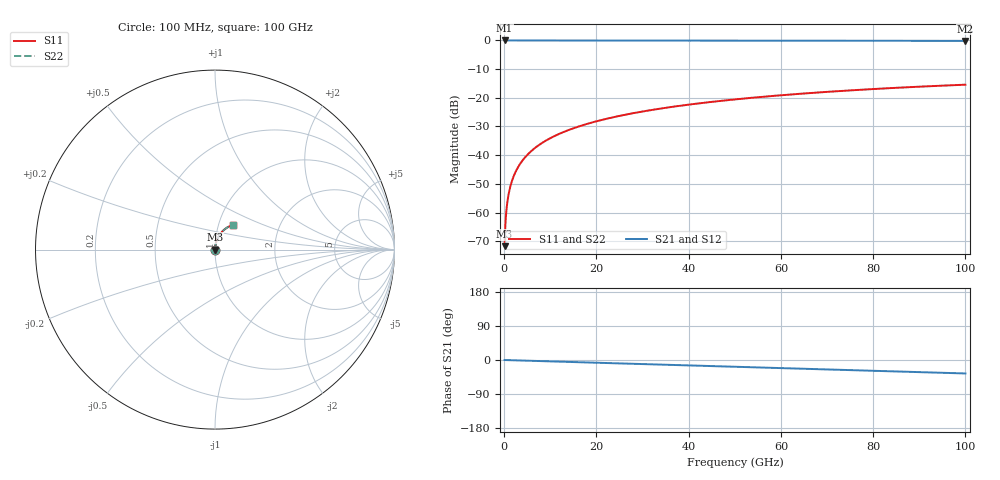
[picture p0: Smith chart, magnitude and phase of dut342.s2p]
! Touchstone file exported from HFSS 2026.1.0
!  File:  C:/ffzhzh/LocalFiles/Ansys_Project_Files/temp_train_TSV_342_1783509853_44152.aedt
!  Generated:  07:25:32 PM Jul  8, 2026
!  Design:  TSV
!  Project:  temp_train_TSV_342_1783509853_44152
! Variables:
!  h_bsmrdl = 2um
!  h_ox = 20um
!  h_rdl = 5um
!  h_sub = 62.67um
!  h_tmrdl = 5um
!  h_tsv = 62.67um
!  h_via = 3um
!  l_bsmrdl = 300um
!  l_sub = 418.08um
!  l_tmrdl = 200um
!  m_sub = 200um
!  pitch = 53.48um
!  r_tsv = 9.04um
!  s_tmrdl = 10um
!  w_bsmrdl = 18um
!  w_sub = 500um
!  w_tmrdl = 12um
!  x_tsv_center1 = 206um
!  x_tsv_center2 = 524um
!  x_tsv_center3 = 736um
!  x_tsv_center4 = 1054um
!  x_tsv_center5 = 1266um
!  x_tsv_center6 = 1584um
# GHz S MA R 50.000000
! Terminal data exported
! Port[1] = TSV1_1_T1
! Port[2] = TSV1_1_T2
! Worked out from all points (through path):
!   1000 points, 100 MHz to 100 GHz, reference 50 ohm
!   highest |S21| = 0.00 dB at 100 MHz (marker M1); lowest = -0.1 dB at 100 GHz (marker M2)
!   group delay of S21, straight-line fit = 986 fs
!   lowest |S11| = -71.7 dB at 100 MHz (marker M3), VSWR 1.00, Z = 50 + j0.0229 ohm
!   |S11| at or under -10 dB: start of sweep to end of sweep
!   |S22| runs from -71.7 to -15.4 dB; largest |S21 - S12| = 2.1e-15
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0.1  0.0002591 62.1  0.9999 -0.0  0.9999 -0.0  0.0002591 62.1
! Gamma 0 0 0 0
! Port Impedance 50 0 50 0
0.3  0.000692 77.8  0.9999 -0.1  0.9999 -0.1  0.000692 77.8
0.7  0.001536 82.0  0.9998 -0.3  0.9998 -0.3  0.001536 82.0
0.8  0.001741 82.5  0.9998 -0.3  0.9998 -0.3  0.001741 82.5
1  0.002149 83.1  0.9998 -0.4  0.9998 -0.4  0.002149 83.1
1.3  0.002758 83.8  0.9997 -0.5  0.9997 -0.5  0.002758 83.8
1.7  0.003564 84.4  0.9997 -0.6  0.9997 -0.6  0.003564 84.4
2.3  0.004763 84.8  0.9996 -0.8  0.9996 -0.8  0.004763 84.8
3  0.00615 85.0  0.9996 -1.1  0.9996 -1.1  0.00615 85.0
3.8  0.007723 85.1  0.9995 -1.4  0.9995 -1.4  0.007723 85.1
4.8  0.00968 85.1  0.9994 -1.7  0.9994 -1.7  0.00968 85.1
6  0.01202 85.0  0.9993 -2.2  0.9993 -2.2  0.01202 85.0
8.8  0.01746 84.5  0.9991 -3.2  0.9991 -3.2  0.01746 84.5
12.4  0.02441 83.5  0.9988 -4.5  0.9988 -4.5  0.02441 83.5
16.8  0.03283 82.2  0.9985 -6.1  0.9985 -6.1  0.03283 82.2
24.2  0.04686 79.8  0.9977 -8.7  0.9977 -8.7  0.04686 79.8
33.4  0.06399 76.8  0.9965 -12.0  0.9965 -12.0  0.06399 76.8
41.2  0.07817 74.1  0.9954 -14.8  0.9954 -14.8  0.07817 74.1
50.1  0.0939 71.0  0.9938 -17.9  0.9938 -17.9  0.0939 71.0
66.7  0.1217 65.3  0.9906 -23.8  0.9906 -23.8  0.1217 65.3
83.4  0.1471 59.5  0.9869 -29.7  0.9869 -29.7  0.1471 59.5
100  0.1694 53.8  0.983 -35.5  0.983 -35.5  0.1694 53.8
